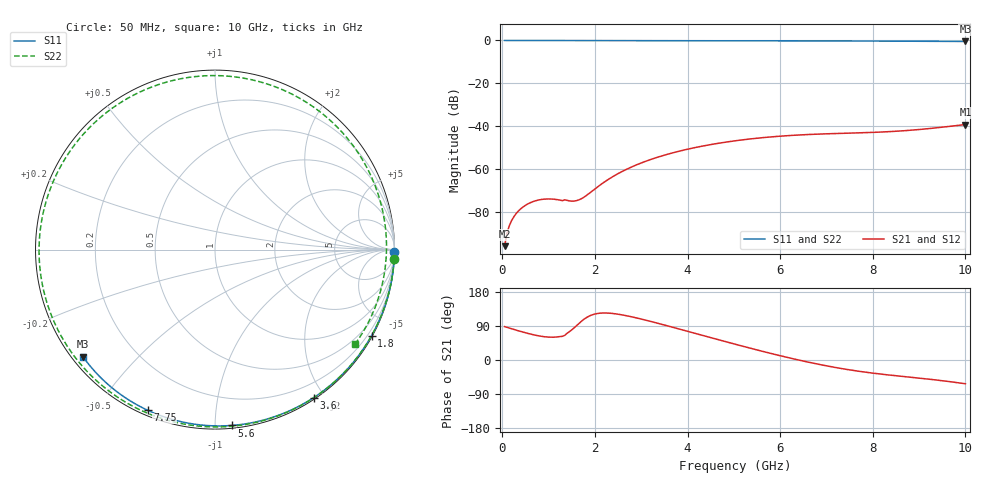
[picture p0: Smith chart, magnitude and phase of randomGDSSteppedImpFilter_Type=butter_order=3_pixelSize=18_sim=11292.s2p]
! freq	dB(S11)	phase(S11)	dB(S12)	phase(S12)
!  dB(S21)	phase(S21)	dB(S22)	phase(S22)
!S-par simulation data
#  GHz  S  DB  R 50
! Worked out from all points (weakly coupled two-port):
!   200 points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, 50 MHz to 10 GHz, reference 50 ohm
!   highest |S21| = -39.28 dB at 10 GHz (marker M1); lowest = -96.1 dB at 50 MHz (marker M2)
!   lowest |S11| = -0.5 dB at 10 GHz (marker M3), VSWR 36.93, Z = 1.52 - j17.7 ohm
!   |S11| at or under -10 dB: nowhere
!   |S22| runs from -0.5 to 0.0 dB; largest |S21 - S12| = 0
!   S11 on the Smith chart (normalised r, x): 50 MHz: open; 1.8 GHz: 0.03, -3.89; 3.6 GHz: 0.02, -1.87; 5.6 GHz: 0.02, -1.10; 7.75 GHz: 0.02, -0.66; 10 GHz: 0.03, -0.35
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0.05  -0.00 -0.8  -96.11 88.1  -96.11 88.1  -0.00 -3.1
0.3  -0.01 -4.9  -80.87 78.8  -80.87 78.8  -0.03 -18.3
0.45  -0.01 -7.3  -77.76 73.5  -77.76 73.5  -0.04 -27.3
0.7  -0.01 -11.3  -75.03 65.8  -75.03 65.8  -0.06 -42.1
0.95  -0.02 -15.3  -74.07 60.8  -74.07 60.8  -0.07 -56.4
1.25  -0.03 -20.1  -74.63 62.1  -74.63 62.1  -0.09 -72.8
1.55  -0.03 -24.9  -75.04 84.6  -75.04 84.6  -0.10 -88.4
1.75  -0.04 -28.0  -73.40 106.2  -73.40 106.2  -0.11 -98.3
1.8  -0.04 -28.8  -72.68 110.6  -72.68 110.6  -0.11 -100.7
2.6  -0.05 -41.2  -61.07 118.8  -61.07 118.8  -0.14 -136.5
3.4  -0.07 -53.3  -54.24 95.6  -54.24 95.6  -0.16 -168.2
3.6  -0.08 -56.3  -52.98 89.1  -52.98 89.1  -0.17 -175.7
4.3  -0.09 -66.5  -49.45 65.7  -49.45 65.7  -0.19 158.9
5.05  -0.12 -77.1  -46.82 40.9  -46.82 40.9  -0.22 132.2
5.6  -0.14 -84.6  -45.46 23.4  -45.46 23.4  -0.25 112.8
6.15  -0.16 -92.0  -44.49 6.9  -44.49 6.9  -0.27 93.3
6.7  -0.19 -99.3  -43.86 -8.0  -43.86 -8.0  -0.29 73.8
7.2  -0.22 -105.8  -43.48 -19.9  -43.48 -19.9  -0.30 56.1
7.75  -0.26 -112.8  -43.14 -30.6  -43.14 -30.6  -0.33 36.9
8.35  -0.31 -120.3  -42.61 -39.6  -42.61 -39.6  -0.36 16.6
9.15  -0.38 -130.3  -41.32 -49.8  -41.32 -49.8  -0.42 -9.1
10  -0.47 -140.9  -39.28 -62.7  -39.28 -62.7  -0.53 -34.2
